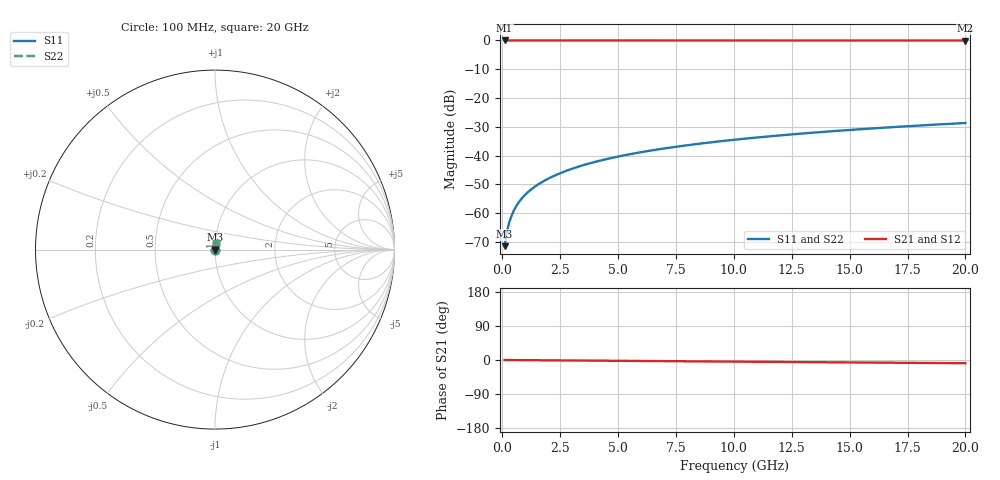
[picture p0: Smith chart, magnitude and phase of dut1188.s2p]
! Touchstone file exported from HFSS 2026.1.0
!  File:  C:/ffzhzh/LocalFiles/Ansys_Project_Files/temp_train_TSV_1188_1783192380_18472.aedt
!  Generated:  03:14:23 AM Jul  5, 2026
!  Design:  TSV
!  Project:  temp_train_TSV_1188_1783192380_18472
! Variables:
!  h_bsmrdl = 2um
!  h_ox = 20um
!  h_rdl = 5um
!  h_sub = 80.12um
!  h_tmrdl = 5um
!  h_tsv = 80.12um
!  h_via = 3um
!  l_bsmrdl = 300um
!  l_sub = 418.4um
!  l_tmrdl = 200um
!  m_sub = 200um
!  pitch = 50.51um
!  r_tsv = 9.2um
!  s_tmrdl = 10um
!  w_bsmrdl = 18um
!  w_sub = 500um
!  w_tmrdl = 12um
!  x_tsv_center1 = 206um
!  x_tsv_center2 = 524um
!  x_tsv_center3 = 736um
!  x_tsv_center4 = 1054um
!  x_tsv_center5 = 1266um
!  x_tsv_center6 = 1584um
# GHz S MA R 50.000000
! Terminal data exported
! Port[1] = TSV1_1_T1
! Port[2] = TSV1_1_T2
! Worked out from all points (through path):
!   200 points, 100 MHz to 20 GHz, reference 50 ohm
!   highest |S21| = 0.00 dB at 100 MHz (marker M1); lowest = 0.0 dB at 20 GHz (marker M2)
!   group delay of S21, straight-line fit = 1.18 ps
!   lowest |S11| = -71.5 dB at 100 MHz (marker M3), VSWR 1.00, Z = 50 + j0.0226 ohm
!   |S11| at or under -10 dB: start of sweep to end of sweep
!   |S22| runs from -71.5 to -28.7 dB; largest |S21 - S12| = 3e-15
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0.1  0.0002676 57.8  0.9999 -0.0  0.9999 -0.0  0.0002676 57.8
! Gamma 0 0 0 0
! Port Impedance 50 0 50 0
0.2  0.0004759 71.2  0.9998 -0.1  0.9998 -0.1  0.0004759 71.2
0.3  0.0006919 75.7  0.9998 -0.1  0.9998 -0.1  0.0006919 75.7
0.4  0.0009061 77.8  0.9998 -0.2  0.9998 -0.2  0.0009061 77.8
0.5  0.001116 78.9  0.9998 -0.2  0.9998 -0.2  0.001116 78.9
0.6  0.001322 79.6  0.9998 -0.3  0.9998 -0.3  0.001322 79.6
0.7  0.001524 80.1  0.9997 -0.3  0.9997 -0.3  0.001524 80.1
0.8  0.001723 80.4  0.9997 -0.4  0.9997 -0.4  0.001723 80.4
1  0.002113 81.0  0.9997 -0.4  0.9997 -0.4  0.002113 81.0
1.4  0.002877 82.0  0.9996 -0.6  0.9996 -0.6  0.002877 82.0
1.7  0.003445 82.5  0.9996 -0.7  0.9996 -0.7  0.003445 82.5
2  0.004011 82.9  0.9996 -0.9  0.9996 -0.9  0.004011 82.9
2.7  0.005331 83.5  0.9995 -1.2  0.9995 -1.2  0.005331 83.5
3.5  0.006835 83.8  0.9994 -1.5  0.9994 -1.5  0.006835 83.8
4.2  0.008146 83.9  0.9994 -1.8  0.9994 -1.8  0.008146 83.9
5  0.009636 83.9  0.9993 -2.2  0.9993 -2.2  0.009636 83.9
6.8  0.01296 83.6  0.9991 -2.9  0.9991 -2.9  0.01296 83.6
8.3  0.01572 83.3  0.999 -3.6  0.999 -3.6  0.01572 83.3
10.1  0.01901 82.8  0.9989 -4.3  0.9989 -4.3  0.01901 82.8
13.4  0.02501 81.8  0.9986 -5.7  0.9986 -5.7  0.02501 81.8
16.7  0.03096 80.6  0.9983 -7.1  0.9983 -7.1  0.03096 80.6
20  0.03686 79.4  0.998 -8.5  0.998 -8.5  0.03686 79.4
